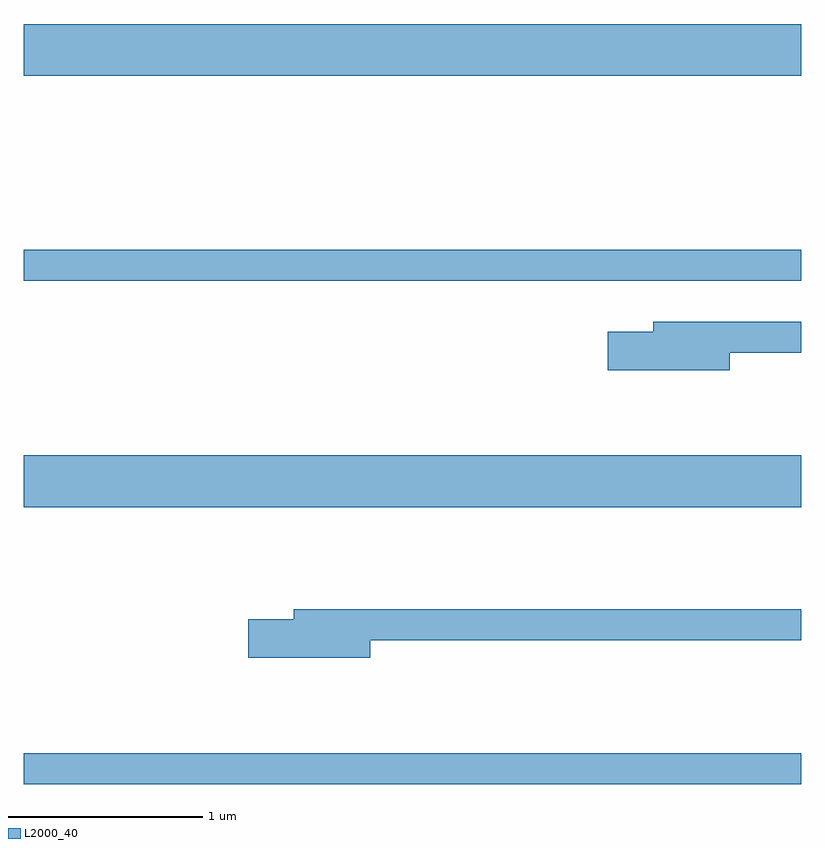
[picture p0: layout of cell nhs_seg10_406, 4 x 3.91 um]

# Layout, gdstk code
import gdstk
lib = gdstk.Library(unit=1e-6, precision=1e-09)
def R(c, l, rs):  # rectangles x0, y0, x1, y1
    for r in rs: c.add(gdstk.rectangle(r[:2], r[2:], *l))
def P(c, l, *ps):  # polygons
    for p in ps: c.add(gdstk.Polygon(p, *l))
L2000_40 = (2000, 40)

nhs_seg10_406 = lib.new_cell('nhs_seg10_406')
R(nhs_seg10_406, L2000_40, [(195.611,2214.611,199.611,2214.769), (195.611,2216.036,199.611,2216.304), (195.611,2217.201,199.611,2217.359), (195.611,2218.256,199.611,2218.522)])
P(nhs_seg10_406, L2000_40, [(199.244,2216.831),(199.611,2216.831),(199.611,2216.989),(198.851,2216.989),(198.851,2216.939),(198.616,2216.939),(198.616,2216.741),(199.244,2216.741)],
  [(197.394,2215.351),(199.611,2215.351),(199.611,2215.509),(197.001,2215.509),(197.001,2215.459),(196.766,2215.459),(196.766,2215.261),(197.394,2215.261)])

lib.write_gds('nhs_seg10_406.gds')
